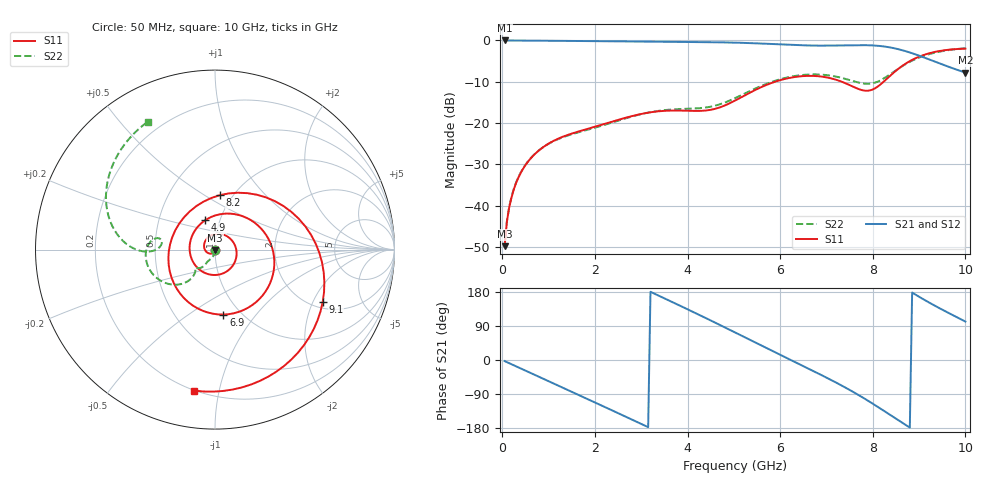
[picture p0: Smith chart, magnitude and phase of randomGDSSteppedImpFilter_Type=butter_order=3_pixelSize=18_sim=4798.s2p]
! freq	dB(S11)	phase(S11)	dB(S12)	phase(S12)
!  dB(S21)	phase(S21)	dB(S22)	phase(S22)
!S-par simulation data
#  GHz  S  DB  R 50
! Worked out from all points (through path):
!   200 points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, 50 MHz to 10 GHz, reference 50 ohm
!   highest |S21| = -0.01 dB at 50 MHz (marker M1); lowest = -7.8 dB at 10 GHz (marker M2)
!   group delay of S21, straight-line fit = 171 ps
!   lowest |S11| = -49.8 dB at 50 MHz (marker M3), VSWR 1.01, Z = 50 - j0.324 ohm
!   |S11| at or under -10 dB: start of sweep to 5.89 GHz; 7.331 GHz to 8.233 GHz (902.7 MHz wide, 11.6 % of centre)
!   |S22| runs from -49.8 to -1.9 dB; largest |S21 - S12| = 0
!   S11 on the Smith chart (normalised r, x): 50 MHz: 1.00, -0.01; 4.9 GHz: 0.85, +0.29; 6.9 GHz: 0.83, -0.70; 8.2 GHz: 0.87, +0.58; 9.1 GHz: 2.28, -2.38; 10 GHz: 0.20, -0.84
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0.05  -49.78 -86.7  -0.01 -2.9  -0.01 -2.9  -49.79 -84.1
0.1  -43.81 -94.7  -0.01 -5.7  -0.01 -5.7  -43.71 -88.5
0.2  -37.99 -105.2  -0.02 -11.3  -0.02 -11.3  -37.76 -93.3
0.5  -30.18 -133.2  -0.04 -28.0  -0.04 -28.0  -30.10 -102.9
1.15  -24.07 166.2  -0.09 -64.3  -0.09 -64.3  -24.16 -117.0
1.75  -21.70 104.6  -0.14 -97.9  -0.14 -97.9  -21.91 -122.2
2.2  -20.24 55.6  -0.19 -123.3  -0.19 -123.3  -20.47 -122.8
2.65  -18.76 7.6  -0.24 -148.7  -0.24 -148.7  -18.91 -124.6
3.4  -17.12 -68.5  -0.33 168.5  -0.33 168.5  -17.00 -132.7
4.2  -17.07 -157.7  -0.40 122.1  -0.40 122.1  -16.45 -136.4
4.9  -15.26 108.4  -0.50 80.4  -0.50 80.4  -14.60 -129.6
5.05  -14.41 89.6  -0.54 71.3  -0.54 71.3  -13.84 -129.3
5.9  -9.96 2.4  -0.92 19.7  -0.92 19.7  -9.73 -144.5
6.7  -8.58 -65.3  -1.24 -28.2  -1.24 -28.2  -8.22 -171.1
6.9  -8.76 -82.7  -1.26 -40.3  -1.26 -40.3  -8.29 -177.6
7.65  -11.57 -169.6  -1.14 -89.4  -1.14 -89.4  -10.07 168.8
8.2  -10.33 84.9  -1.40 -130.9  -1.40 -130.9  -9.45 -179.3
8.35  -8.81 60.2  -1.65 -142.9  -1.65 -142.9  -8.38 -178.3
8.75  -5.34 8.8  -2.74 -174.5  -2.74 -174.5  -5.47 173.0
9.1  -3.52 -25.8  -4.10 159.7  -4.10 159.7  -3.74 158.3
9.6  -2.30 -67.2  -6.22 126.5  -6.22 126.5  -2.41 135.4
10  -2.00 -98.7  -7.78 101.5  -7.78 101.5  -1.88 117.7
